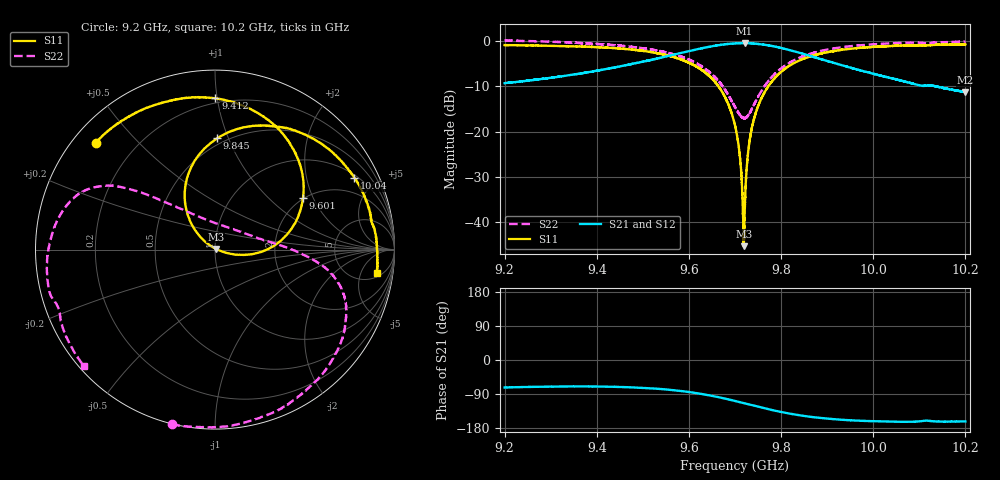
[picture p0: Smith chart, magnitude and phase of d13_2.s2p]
!Agilent Technologies,N5242A,MY51221714,A.09.90.19
!Agilent N5242A: A.09.90.19
!Date: Tuesday, March 26, 2024 16:36:02
!Correction: S11(Full 2 Port(1,2))
!S21(Full 2 Port(1,2))
!S12(Full 2 Port(1,2))
!S22(Full 2 Port(1,2))
!S2P File: Measurements: S11, S21, S12, S22:
# Hz S  dB  R 50
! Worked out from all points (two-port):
!   16001 points, 9.2 GHz to 10.2 GHz, reference 50 ohm
!   highest |S21| = -0.55 dB at 9.721 GHz (marker M1); lowest = -11.3 dB at 10.2 GHz (marker M2)
!   |S21| within 3 dB of the highest: 9.547 GHz to 9.869 GHz (322.2 MHz wide, 3.32 % of centre); 9.869289 GHz to 9.869475 GHz (185.2 kHz wide, 0.00188 % of centre)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
!   lowest |S11| = -45.2 dB at 9.719 GHz (marker M3), VSWR 1.01, Z = 50.4 + j0.394 ohm
!   |S11| at or under -10 dB: 9.664 GHz to 9.773 GHz (108.8 MHz wide, 1.12 % of centre)
!   |S22| runs from -17.1 to 0.0 dB; largest |S21 - S12| = 0.013
!   S11 on the Smith chart (normalised r, x): 9.2 GHz: 0.06, +0.38; 9.412 GHz: 0.17, +0.99; 9.601 GHz: 1.97, +1.69; 9.845 GHz: 0.45, +0.91; 10.04 GHz: 1.14, +3.83; 10.2 GHz: 7, -10
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9.2e9  -0.98 138.1  -9.35 -72.5  -9.33 -73.3  0.03 -103.9
9.278812e9  -1.09 121.1  -8.45 -70.6  -8.43 -71.2  -0.17 -82.3
9.366688e9  -1.30 101.2  -7.20 -69.8  -7.19 -70.5  -0.57 -59.4
9.411875e9  -1.49 89.8  -6.40 -70.2  -6.39 -70.9  -0.81 -47.9
9.533375e9  -2.82 54.9  -3.89 -76.1  -3.87 -76.7  -2.20 -20.7
9.600562e9  -4.88 30.6  -2.30 -84.6  -2.28 -85.3  -4.21 -9.1
9.663938e9  -10.01 2.4  -1.01 -98.0  -1.01 -98.6  -8.87 3.8
9.7e9  -18.65 -13.9  -0.61 -108.2  -0.60 -108.7  -14.55 29.6
9.709125e9  -24.11 -15.7  -0.57 -110.9  -0.56 -111.5  -16.12 45.1
9.715875e9  -33.42 -9.3  -0.56 -112.9  -0.55 -113.5  -16.94 59.9
9.718812e9  -45.21 45.4  -0.56 -113.8  -0.54 -114.4  -17.07 67.7
9.72075e9  -38.11 120.6  -0.55 -114.4  -0.54 -115.0  -17.03 72.9
9.732062e9  -21.76 140.8  -0.60 -117.8  -0.58 -118.4  -15.88 99.8
9.751562e9  -14.04 131.8  -0.75 -123.8  -0.74 -124.4  -12.07 124.3
9.78925e9  -7.91 114.0  -1.36 -134.3  -1.36 -135.1  -7.05 139.3
9.844625e9  -4.14 88.8  -2.81 -146.6  -2.81 -147.2  -3.57 147.7
9.866688e9  -3.36 80.1  -3.46 -150.4  -3.46 -150.9  -2.80 150.7
9.935375e9  -1.97 56.4  -5.51 -158.0  -5.52 -158.6  -1.41 161.6
1.003338e10  -1.21 29.2  -8.13 -162.5  -8.13 -163.1  -0.62 -178.7
1.004181e10  -1.18 27.1  -8.34 -162.6  -8.33 -163.2  -0.56 -176.8
1.019969e10  -0.83 -7.9  -11.32 -162.1  -11.30 -162.7  -0.21 -138.6
1.02e10  -0.81 -8.1  -11.29 -162.1  -11.31 -162.8  -0.21 -138.4
